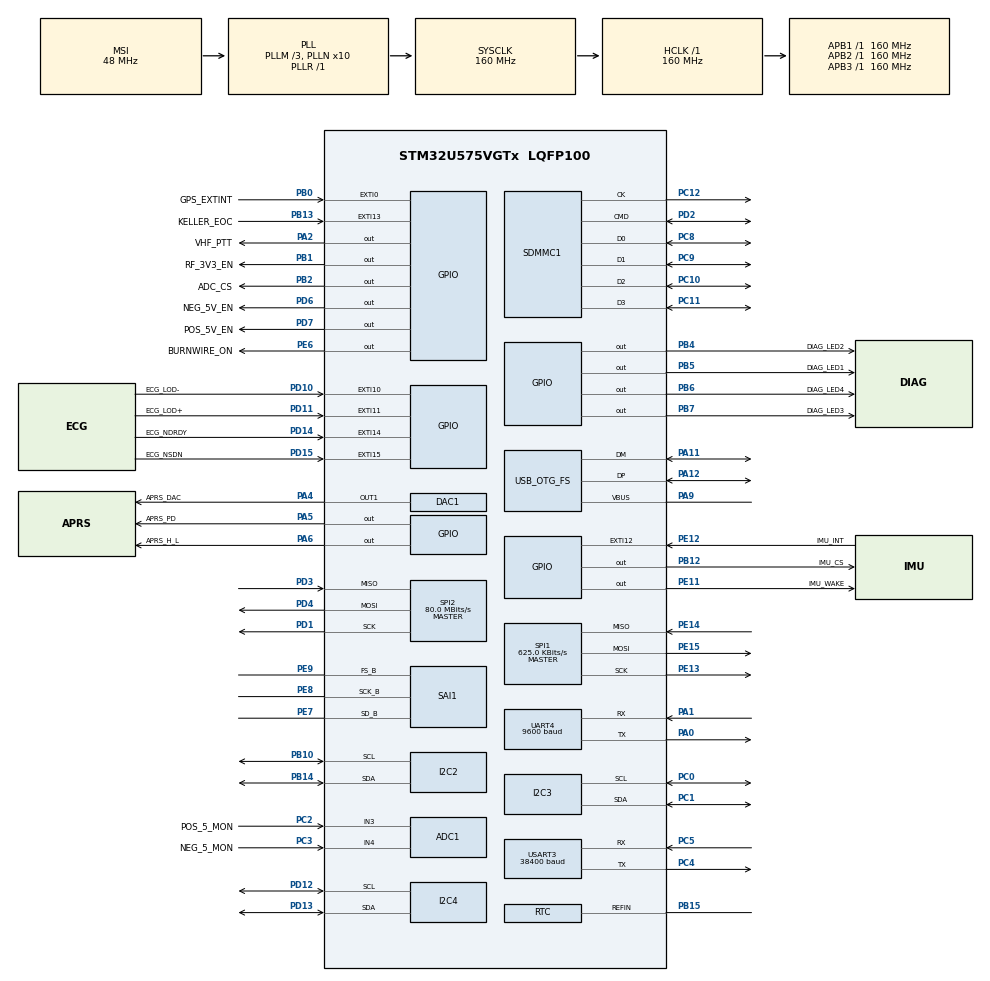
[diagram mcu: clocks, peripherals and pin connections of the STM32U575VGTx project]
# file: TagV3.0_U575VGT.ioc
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ADC1.Channel-0\#ChannelRegularConversion=ADC_CHANNEL_3
ADC1.Channel-1\#ChannelRegularConversion=ADC_CHANNEL_4
ADC1.EnableRegularConversion=ENABLE
ADC1.MonitoredBy-0\#ChannelRegularConversion=__NULL
ADC1.MonitoredBy-1\#ChannelRegularConversion=__NULL
ADC1.NbrOfConversion=2
ADC1.NbrOfConversionFlag=1
ADC1.OffsetNumber-0\#ChannelRegularConversion=ADC_OFFSET_NONE
ADC1.OffsetNumber-1\#ChannelRegularConversion=ADC_OFFSET_NONE
ADC1.Rank-0\#ChannelRegularConversion=1
ADC1.Rank-1\#ChannelRegularConversion=2
ADC1.SamplingTime-0\#ChannelRegularConversion=ADC_SAMPLETIME_5CYCLE
ADC1.SamplingTime-1\#ChannelRegularConversion=ADC_SAMPLETIME_5CYCLE
ADC1.master=1
CORTEX_M33_NS.userName=CORTEX_M33
DAC1.DAC_Channel-DAC_OUT1=DAC_CHANNEL_1
DAC1.DAC_OutputBuffer_OUT1-DAC_OUT1=DAC_OUTPUTBUFFER_ENABLE
DAC1.DAC_SampleAndHold-DAC_OUT1=DAC_SAMPLEANDHOLD_DISABLE
DAC1.DAC_SignedFormat-DAC_OUT1=DISABLE
DAC1.DAC_Trigger-DAC_OUT1=DAC_TRIGGER_T2_TRGO
DAC1.DAC_UserTrimming-DAC_OUT1=DAC_TRIMMING_FACTORY
FILEX.FILEX_APPLICATION_THREAD_PRIORITY=1
FILEX.FILEX_APPLICATION_THREAD_STACK_SIZE=2048
FILEX.FORMAT_SD_MEDIA=0
FILEX.FX_APP_MEM_POOL_SIZE=2500
FILEX.FX_DISABLE_ERROR_CHECKING=1
FILEX.FX_DONT_UPDATE_OPEN_FILES=1
FILEX.FX_DRIVER_SDMMC_INIT=0
FILEX.FX_ENABLE_EXFAT=1
FILEX.FX_EXFAT_MAX_CACHE_SIZE_NB_BIT=12
FILEX.FX_FAT_MAP_SIZE=256
FILEX.FX_FAULT_TOLERANT=1
FILEX.FX_FAULT_TOLERANT_CACHE_SIZE_NB_SIZE=14
FILEX.FX_FAULT_TOLERANT_DATA=1
FILEX.FX_SD_INTERFACE=1
FILEX.FX_UPDATE_RATE_IN_SECONDS=10
FILEX.useRTOS=1
GPDMA1.CIRCULARMODE_GPDMACH0=ENABLE
GPDMA1.CIRCULARMODE_GPDMACH1=ENABLE
GPDMA1.DESTBURSTLENGTH_GPDMACH0=1
GPDMA1.DESTDATAWIDTH_GPDMACH1=DMA_DEST_DATAWIDTH_WORD
GPDMA1.DESTINC_GPDMACH0=DMA_DINC_INCREMENTED
GPDMA1.DESTINC_GPDMACH1=DMA_DINC_FIXED
GPDMA1.DIRECTION_GPDMACH1=DMA_MEMORY_TO_PERIPH
GPDMA1.IPHANDLE_GPDMACH0-SIMPLEREQUEST_GPDMACH0=__NULL
GPDMA1.IPHANDLE_GPDMACH1-SIMPLEREQUEST_GPDMACH1=__NULL
GPDMA1.PRIORITY_LL_CIRCULAR_GPDMACH0=DMA_LOW_PRIORITY_LOW_WEIGHT
GPDMA1.PRIORITY_LL_CIRCULAR_GPDMACH1=DMA_LOW_PRIORITY_LOW_WEIGHT
GPDMA1.REQUEST_GPDMACH0=GPDMA1_REQUEST_SAI1_B
GPDMA1.REQUEST_GPDMACH1=GPDMA1_REQUEST_DAC1_CH1
GPDMA1.SRCBURSTLENGTH_GPDMACH0=1
GPDMA1.SRCDATAWIDTH_GPDMACH1=DMA_SRC_DATAWIDTH_WORD
GPDMA1.SRCINC_GPDMACH1=DMA_SINC_INCREMENTED
I2C2.Timing=0x30909DEC
I2C3.Timing=0x30909DEC
I2C4.Timing=0x30909DEC
Mcu.Family=STM32U5
Mcu.Name=STM32U575VGTx
Mcu.Package=LQFP100
NVIC.EXTI12_IRQn=true\:3\:0\:true\:false\:true\:false\:true\:true\:true
NVIC.EXTI14_IRQn=true\:2\:0\:true\:false\:true\:false\:true\:true\:true
NVIC.GPDMA1_Channel0_IRQn=true\:0\:0\:false\:false\:true\:false\:false\:true\:true
NVIC.GPDMA1_Channel1_IRQn=true\:0\:0\:false\:false\:true\:true\:false\:true\:true
NVIC.OTG_FS_IRQn=true\:0\:0\:false\:false\:true\:false\:true\:true\:true
NVIC.PriorityGroup=NVIC_PRIORITYGROUP_4
NVIC.SDMMC1_IRQn=true\:0\:0\:true\:false\:true\:false\:true\:true\:true
NVIC.TIM2_IRQn=true\:0\:0\:false\:false\:true\:false\:true\:true\:true
NVIC.TIM6_IRQn=true\:15\:0\:false\:false\:true\:false\:false\:true\:true
NVIC.TimeBase=TIM6_IRQn
NVIC.TimeBaseIP=TIM6
PA0.Mode=Asynchronous
PA0.Signal=UART4_TX
PA1.Mode=Asynchronous
PA1.Signal=UART4_RX
PA11.Mode=Device_Only
PA11.Signal=USB_OTG_FS_DM
PA12.Mode=Device_Only
PA12.Signal=USB_OTG_FS_DP
PA13\ (JTMS/SWDIO).Mode=Trace_Asynchronous_SW
PA13\ (JTMS/SWDIO).Signal=DEBUG_JTMS-SWDIO
PA14\ (JTCK/SWCLK).Mode=Trace_Asynchronous_SW
PA14\ (JTCK/SWCLK).Signal=DEBUG_JTCK-SWCLK
PA2.GPIO_Label=VHF_PTT
PA2.PinState=GPIO_PIN_RESET
PA2.Signal=GPIO_Output
PA4.GPIO_Label=APRS_DAC
PA4.Signal=COMP_DAC11_group
PA5.GPIO_Label=APRS_PD
PA5.PinState=GPIO_PIN_SET
PA5.Signal=GPIO_Output
PA6.GPIO_Label=APRS_H_L
PA6.Signal=GPIO_Output
PA9.Mode=Activate_VBUS
PA9.Signal=USB_OTG_FS_VBUS
PB0.GPIO_Label=GPS_EXTINT
PB0.Signal=GPXTI0
PB1.GPIO_Label=RF_3V3_EN
PB1.Signal=GPIO_Output
PB10.Mode=I2C
PB10.PinAttribute=Free
PB10.Signal=I2C2_SCL
PB12.GPIO_Label=IMU_CS
PB12.PinAttribute=Free
PB12.PinState=GPIO_PIN_SET
PB12.Signal=GPIO_Output
PB13.GPIO_Label=KELLER_EOC
PB13.PinAttribute=Free
PB13.Signal=GPXTI13
PB14.Mode=I2C
PB14.PinAttribute=Free
PB14.Signal=I2C2_SDA
PB15.Mode=Reference_Clock_Detection_Activate
PB15.PinAttribute=Free
PB15.Signal=RTC_REFIN
PB2.GPIO_Label=ADC_CS
PB2.PinState=GPIO_PIN_SET
PB2.Signal=GPIO_Output
PB3\ (JTDO/TRACESWO).Mode=Trace_Asynchronous_SW
PB3\ (JTDO/TRACESWO).Signal=DEBUG_JTDO-SWO
PB4\ (NJTRST).GPIO_Label=DIAG_LED2
PB4\ (NJTRST).PinState=GPIO_PIN_SET
PB4\ (NJTRST).Signal=GPIO_Output
PB5.GPIO_Label=DIAG_LED1
PB5.PinState=GPIO_PIN_SET
PB5.Signal=GPIO_Output
PB6.GPIO_Label=DIAG_LED4
PB6.PinState=GPIO_PIN_SET
PB6.Signal=GPIO_Output
PB7.GPIO_Label=DIAG_LED3
PB7.PinState=GPIO_PIN_SET
PB7.Signal=GPIO_Output
PC0.Mode=I2C
PC0.Signal=I2C3_SCL
PC1.Mode=I2C
PC1.PinAttribute=Free
PC1.Signal=I2C3_SDA
PC10.Mode=SD_4_bits_Wide_bus
PC10.PinAttribute=Free
PC10.Signal=SDMMC1_D2
PC11.Mode=SD_4_bits_Wide_bus
PC11.PinAttribute=Free
PC11.Signal=SDMMC1_D3
PC12.Mode=SD_4_bits_Wide_bus
PC12.PinAttribute=Free
PC12.Signal=SDMMC1_CK
PC14-OSC32_IN\ (PC14).Mode=LSE-External-Oscillator
PC14-OSC32_IN\ (PC14).Signal=RCC_OSC32_IN
PC15-OSC32_OUT\ (PC15).Mode=LSE-External-Oscillator
PC15-OSC32_OUT\ (PC15).Signal=RCC_OSC32_OUT
PC2.GPIO_Label=POS_5_MON
PC2.Signal=SharedAnalog_PC2
PC3.GPIO_Label=NEG_5_MON
PC3.Signal=SharedAnalog_PC3
PC4.Mode=Asynchronous
PC4.Signal=USART3_TX
PC5.Mode=Asynchronous
PC5.Signal=USART3_RX
PC8.Mode=SD_4_bits_Wide_bus
PC8.PinAttribute=Free
PC8.Signal=SDMMC1_D0
PC9.Mode=SD_4_bits_Wide_bus
PC9.PinAttribute=Free
PC9.Signal=SDMMC1_D1
PD1.Mode=Full_Duplex_Master
PD1.PinAttribute=Free
PD1.Signal=SPI2_SCK
PD10.GPIO_Label=ECG_LOD-
PD10.PinAttribute=Free
PD10.Signal=GPXTI10
PD11.GPIO_Label=ECG_LOD+
PD11.PinAttribute=Free
PD11.Signal=GPXTI11
PD12.Mode=I2C
PD12.PinAttribute=Free
PD12.Signal=I2C4_SCL
PD13.Mode=I2C
PD13.PinAttribute=Free
PD13.Signal=I2C4_SDA
PD14.GPIO_Label=ECG_NDRDY
PD14.PinAttribute=Free
PD14.Signal=GPXTI14
PD15.GPIO_Label=ECG_NSDN
PD15.PinAttribute=Free
PD15.Signal=GPXTI15
PD2.Mode=SD_4_bits_Wide_bus
PD2.PinAttribute=Free
PD2.Signal=SDMMC1_CMD
PD3.Mode=Full_Duplex_Master
PD3.PinAttribute=Free
PD3.Signal=SPI2_MISO
PD4.Mode=Full_Duplex_Master
PD4.PinAttribute=Free
PD4.Signal=SPI2_MOSI
PD6.GPIO_Label=NEG_5V_EN
PD6.Signal=GPIO_Output
PD7.GPIO_Label=POS_5V_EN
PD7.Signal=GPIO_Output
PE11.GPIO_Label=IMU_WAKE
PE11.GPIO_ModeDefaultOutputPP=GPIO_MODE_OUTPUT_OD
PE11.GPIO_PuPd=GPIO_NOPULL
PE11.PinState=GPIO_PIN_SET
PE11.Signal=GPIO_Output
PE12.GPIO_Label=IMU_INT
PE12.GPIO_ModeDefaultEXTI=GPIO_MODE_IT_FALLING
PE12.Signal=GPXTI12
PE13.Mode=Full_Duplex_Master
PE13.Signal=SPI1_SCK
PE14.Mode=Full_Duplex_Master
PE14.Signal=SPI1_MISO
PE15.Mode=Full_Duplex_Master
PE15.Signal=SPI1_MOSI
PE6.GPIO_Label=BURNWIRE_ON
PE6.Signal=GPIO_Output
PE7.Mode=SAI_B_AsyncSlave
PE7.Signal=SAI1_SD_B
PE8.Mode=SAI_B_AsyncSlave
PE8.Signal=SAI1_SCK_B
PE9.Mode=SAI_B_AsyncSlave
PE9.Signal=SAI1_FS_B
PH0-OSC_IN\ (PH0).Mode=HSE-External-Oscillator
PH0-OSC_IN\ (PH0).Signal=RCC_OSC_IN
PH1-OSC_OUT\ (PH1).Mode=HSE-External-Oscillator
PH1-OSC_OUT\ (PH1).Signal=RCC_OSC_OUT
ProjectManager.HeapSize=0x200
ProjectManager.StackSize=0x400
ProjectManager.TargetToolchain=STM32CubeIDE
RCC.ADCFreq_Value=16000000
RCC.AHBFreq_Value=160000000
RCC.APB1Freq_Value=160000000
RCC.APB1TimFreq_Value=160000000
RCC.APB2Freq_Value=160000000
RCC.APB2TimFreq_Value=160000000
RCC.APB3Freq_Value=160000000
RCC.CK48CLockSelection=RCC_CLK48CLKSOURCE_HSI48
RCC.CortexFreq_Value=160000000
RCC.EPOD_VALUE=48000000
RCC.HCLKFreq_Value=160000000
RCC.HSE_VALUE=16000000
RCC.HSI48_VALUE=48000000
RCC.HSI_VALUE=16000000
RCC.LSIDIV_VALUE=32000
RCC.MSIClockRange=RCC_MSIRANGE_0
RCC.MSI_VALUE=48000000
RCC.PLL1P=1
RCC.PLL1R=1
RCC.PLL2FRACN=0
RCC.PLL2M=3
RCC.PLL2N=8
RCC.PLL2P=1
RCC.PLL3FRACN=0
RCC.PLLFRACN=0
RCC.PLLM=3
RCC.PLLN=10
RCC.SDMMCClockSelection=RCC_SDMMCCLKSOURCE_CLK48
RCC.SYSCLKFreq_VALUE=160000000
RCC.SYSCLKSource=RCC_SYSCLKSOURCE_PLLCLK
RCC.USBFreq_Value=48000000
RCC.VCOOutputFreq_Value=160000000
SAI1.ActiveFrameLength-SAI_B_AsyncSlave=1
SAI1.FSDefinition-SAI_B_AsyncSlave=SAI_FS_STARTFRAME
SAI1.FSOffset-SAI_B_AsyncSlave=SAI_FS_FIRSTBIT
SAI1.FSPolarity-SAI_B_AsyncSlave=SAI_FS_ACTIVE_LOW
SAI1.FrameLength-SAI_B_AsyncSlave=128
SAI1.Instance-SAI_B_AsyncSlave=SAI$Index_Block_B
SAI1.OutputDrive-SAI_B_AsyncSlave=SAI_OUTPUTDRIVE_DISABLE
SAI1.SlotActive-SAI_B_AsyncSlave=0x00000EEE
SAI1.SlotNumber-SAI_B_AsyncSlave=16
SAI1.VirtualMode-SAI_B_AsyncSlave=VM_SLAVE
SAI1.VirtualSlotActive-SAI_B_AsyncSlave=SAI_SLOT_USERSETTING
SAI1.VirtualSlotActive0-SAI_B_AsyncSlave=false
SAI1.VirtualSlotActive1-SAI_B_AsyncSlave=true
SAI1.VirtualSlotActive10-SAI_B_AsyncSlave=true
SAI1.VirtualSlotActive11-SAI_B_AsyncSlave=true
SAI1.VirtualSlotActive12-SAI_B_AsyncSlave=false
SAI1.VirtualSlotActive13-SAI_B_AsyncSlave=false
SAI1.VirtualSlotActive14-SAI_B_AsyncSlave=false
SAI1.VirtualSlotActive15-SAI_B_AsyncSlave=false
SAI1.VirtualSlotActive2-SAI_B_AsyncSlave=true
SAI1.VirtualSlotActive3-SAI_B_AsyncSlave=true
SAI1.VirtualSlotActive4-SAI_B_AsyncSlave=false
SAI1.VirtualSlotActive5-SAI_B_AsyncSlave=true
SAI1.VirtualSlotActive6-SAI_B_AsyncSlave=true
SAI1.VirtualSlotActive7-SAI_B_AsyncSlave=true
SAI1.VirtualSlotActive8-SAI_B_AsyncSlave=false
SAI1.VirtualSlotActive9-SAI_B_AsyncSlave=true
SDMMC1.ClockDiv=2
SDMMC1.ClockPowerSave=SDMMC_CLOCK_POWER_SAVE_DISABLE
SH.COMP_DAC11_group.0=DAC1_OUT1,DAC_OUT1
SH.SharedAnalog_PC2.0=GPIO_Analog
SH.SharedAnalog_PC2.1=ADC1_IN3,IN3-Single-Ended
SH.SharedAnalog_PC3.0=GPIO_Analog
SH.SharedAnalog_PC3.1=ADC1_IN4,IN4-Single-Ended
SPI1.BaudRatePrescaler=SPI_BAUDRATEPRESCALER_256
SPI1.CalculateBaudRate=625.0 KBits/s
SPI1.DataSize=SPI_DATASIZE_8BIT
SPI1.Direction=SPI_DIRECTION_2LINES
SPI1.MasterInterDataIdleness=SPI_MASTER_INTERDATA_IDLENESS_08CYCLE
SPI1.Mode=SPI_MODE_MASTER
SPI1.NSSPMode=SPI_NSS_PULSE_DISABLE
SPI1.VirtualType=VM_MASTER
SPI2.CalculateBaudRate=80.0 MBits/s
SPI2.Direction=SPI_DIRECTION_2LINES
SPI2.Mode=SPI_MODE_MASTER
SPI2.VirtualType=VM_MASTER
THREADX.AZRTOS_APP_MEM_ALLOCATION_METHOD=1
THREADX.TX_APP_MEM_POOL_SIZE=20*1024
THREADX.TX_MINIMUM_STACK=200
THREADX.TX_TIMER_TICKS_PER_SECOND=20000
TIM2.PeriodNoDither=45
TIM2.Prescaler=16-1
TIM2.TIM_MasterOutputTrigger=TIM_TRGO_UPDATE
UART4.BaudRate=9600
UART4.ClockPrescaler=PRESCALER_DIV1
UART4.OverrunDisableParam=UART_ADVFEATURE_OVERRUN_DISABLE
USART3.BaudRate=38400
USART3.FIFOMode=FIFOMODE_ENABLE
USART3.VirtualMode-Asynchronous=VM_ASYNC
USBX.Core_System=1
USBX.USBD_COMPOSITE_USE_IAD=0
USBX.USBX_DEVICE_SYS_SIZE=8*1024
USBX.UX_DEVICE_APP_MEM_POOL_SIZE=10000
USBX.UX_DEVICE_STORAGE=1
USBX.UX_Device_CoreStack=1
USBX.UX_SLAVE_CLASS_STORAGE_INCLUDE_MMC=1
USBX.UX_SLAVE_REQUEST_DATA_MAX_LENGTH=512
USB_OTG_FS.VirtualMode=Device_Only
USB_OTG_FS.battery_charging_enable=DISABLE
VP_FILEX_VS_FileOoSystemJjFileXJjCore.Mode=FileX_Core
VP_FILEX_VS_SDOointerface.Mode=SD_interface
VP_GPDMA1_VS_GPDMACH0.Mode=SIMPLEREQUEST_GPDMACH0
VP_GPDMA1_VS_GPDMACH1.Mode=SIMPLEREQUEST_GPDMACH1
VP_LPBAMQUEUE_VS_QUEUE.Mode=QUEUEMODE
VP_LPBAM_VS_SIG1.Mode=SmartRun
VP_LPBAM_VS_SIG4.Mode=LPDMA1
VP_PWR_VS_LPOM.Mode=PowerOptimisation
VP_PWR_VS_SECSignals.Mode=Security/Privilege
VP_PWR_Vdda.Mode=isolationVdda
VP_RTC_VS_RTC_Activate.Mode=RTC_Enabled
VP_SYS_VS_tim6.Mode=TIM6
VP_THREADX_VS_RTOSJjThreadXJjCoreJjDefault.Mode=Core_Default
VP_TIM2_VS_ClockSourceINT.Mode=Internal
VP_USBX_Core_System.Mode=Core_System
VP_USBX_UX\ Device\ CoreStack_FS.Mode=UX_Device_CoreStack_FS
VP_USBX_UX\ Device\ MSC_FS.Mode=UX_Device_class_MSC_FS
VREF+.Mode=InternalMode
VREF+.Signal=VREFBUF_OUT
VREFBUF.VoltageScaling=SYSCFG_VREFBUF_VOLTAGE_SCALE3
board=custom

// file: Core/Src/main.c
/* USER CODE BEGIN Header */
/**
  ******************************************************************************
  * @file           : main.c
  * @brief          : Main program body
  ******************************************************************************
  * @attention
  *
  * Copyright (c) 2023 STMicroelectronics.
  * All rights reserved.
  *
  * This software is licensed under terms that can be found in the LICENSE file
  * in the root directory of this software component.
  * If no LICENSE file comes with this software, it is provided AS-IS.
  *
  ******************************************************************************
  */
/* USER CODE END Header */
#include "app_threadx.h"
#include "main.h"

/* USER CODE BEGIN Includes */
#include "config.h"
#include "KellerDepth.h"
#include "LightSensor.h"
#include "ad7768.h"
#include "audio.h"
#include "app_filex.h"

#ifdef UNIT_TEST
#include "UnitTests.h"
#endif

/* USER CODE END Includes */

ADC_HandleTypeDef hadc1;

DAC_HandleTypeDef hdac1;
DMA_NodeTypeDef Node_GPDMA1_Channel1;
DMA_QListTypeDef List_GPDMA1_Channel1;
DMA_HandleTypeDef handle_GPDMA1_Channel1;

I2C_HandleTypeDef hi2c2;
I2C_HandleTypeDef hi2c3;
I2C_HandleTypeDef hi2c4;

RTC_HandleTypeDef hrtc;

SAI_HandleTypeDef hsai_BlockB1;
DMA_NodeTypeDef Node_GPDMA1_Channel0;
DMA_QListTypeDef List_GPDMA1_Channel0;
DMA_HandleTypeDef handle_GPDMA1_Channel0;

SD_HandleTypeDef hsd1;

SPI_HandleTypeDef hspi1;
SPI_HandleTypeDef hspi2;

TIM_HandleTypeDef htim2;

UART_HandleTypeDef huart4;
UART_HandleTypeDef huart3;

PCD_HandleTypeDef hpcd_USB_OTG_FS;

/* USER CODE BEGIN PV */
#ifdef UNIT_TEST
Keller_HandleTypedef depth_sensor;
LightSensorHandleTypedef light_sensor;
#endif
AudioManager audio;
/* USER CODE END PV */

void SystemClock_Config(void);
static void MX_GPIO_Init(void);
static void MX_GPDMA1_Init(void);
static void MX_I2C4_Init(void);
static void MX_SDMMC1_SD_Init(void);
static void MX_SPI1_Init(void);
static void MX_UART4_Init(void);
static void MX_USB_OTG_FS_PCD_Init(void);
static void MX_RTC_Init(void);
static void MX_I2C2_Init(void);
static void MX_SAI1_Init(void);
static void MX_I2C3_Init(void);
static void MX_SPI2_Init(void);
static void MX_USART3_UART_Init(void);
static void MX_DAC1_Init(void);
static void MX_TIM2_Init(void);
static void MX_ADC1_Init(void);

int main(void)
{

  /* MCU Configuration--------------------------------------------------------*/

  /* Reset of all peripherals, Initializes the Flash interface and the Systick. */
  HAL_Init();

  /* Configure the system clock */
  SystemClock_Config();

  /* Initialize all configured peripherals */
  MX_GPIO_Init();
  MX_GPDMA1_Init();
  MX_I2C4_Init();
  MX_SDMMC1_SD_Init();
  MX_SPI1_Init();
  MX_UART4_Init();
  MX_USB_OTG_FS_PCD_Init();
  MX_RTC_Init();
  MX_I2C2_Init();
  MX_SAI1_Init();
  MX_I2C3_Init();
  MX_SPI2_Init();
  MX_USART3_UART_Init();
  MX_DAC1_Init();
  MX_TIM2_Init();
  MX_ADC1_Init();
  /* USER CODE BEGIN 2 */

#ifdef UNIT_TEST
  test_analog_power();

  //Keller_init(&depth_sensor, &hi2c2);
  //LightSensor_init(&light_sensor, &hi2c2);

  //HAL_Delay(15000);

  //SDcard_UT();
  //Keller_UT(&depth_sensor);
//  Light_UT(&light_sensor);

//  Keller_init(&depth_sensor, &hi2c2);
//  LightSensor_init(&light_sensor, &hi2c2);

  //AD7768_UT(&audio_adc);
//  SDcard_UT();
//  Keller_UT(&depth_sensor);
//  Light_UT(&light_sensor);
#endif //SYSTEM_BRING_UP

  HAL_NVIC_DisableIRQ(EXTI12_IRQn);
  HAL_NVIC_DisableIRQ(EXTI14_IRQn);
  /* USER CODE END 2 */

  MX_ThreadX_Init();

  /* We should never get here as control is now taken by the scheduler */
  /* Infinite loop */
  while (1)
  {

    /* USER CODE BEGIN 3 */
  }

  //fx_file_write(audio.file, audio.temp_buffer[1], AUDIO_CIRCULAR_BUFFER_SIZE);

  /* USER CODE END 3 */
}

void SystemClock_Config(void)
{
  RCC_OscInitTypeDef RCC_OscInitStruct = {0};
  RCC_ClkInitTypeDef RCC_ClkInitStruct = {0};

  /** Configure the main internal regulator output voltage
  */
  if (HAL_PWREx_ControlVoltageScaling(PWR_REGULATOR_VOLTAGE_SCALE1) != HAL_OK)
  {
    Error_Handler();
  }

  /** Initializes the CPU, AHB and APB buses clocks
  */
  RCC_OscInitStruct.OscillatorType = RCC_OSCILLATORTYPE_HSI48|RCC_OSCILLATORTYPE_HSI
                              |RCC_OSCILLATORTYPE_LSI|RCC_OSCILLATORTYPE_MSI;
  RCC_OscInitStruct.HSIState = RCC_HSI_ON;
  RCC_OscInitStruct.HSI48State = RCC_HSI48_ON;
  RCC_OscInitStruct.HSICalibrationValue = RCC_HSICALIBRATION_DEFAULT;
  RCC_OscInitStruct.LSIState = RCC_LSI_ON;
  RCC_OscInitStruct.MSIState = RCC_MSI_ON;
  RCC_OscInitStruct.MSICalibrationValue = RCC_MSICALIBRATION_DEFAULT;
  RCC_OscInitStruct.MSIClockRange = RCC_MSIRANGE_0;
  RCC_OscInitStruct.LSIDiv = RCC_LSI_DIV1;
  RCC_OscInitStruct.PLL.PLLState = RCC_PLL_ON;
  RCC_OscInitStruct.PLL.PLLSource = RCC_PLLSOURCE_MSI;
  RCC_OscInitStruct.PLL.PLLMBOOST = RCC_PLLMBOOST_DIV4;
  RCC_OscInitStruct.PLL.PLLM = 3;
  RCC_OscInitStruct.PLL.PLLN = 10;
  RCC_OscInitStruct.PLL.PLLP = 1;
  RCC_OscInitStruct.PLL.PLLQ = 2;
  RCC_OscInitStruct.PLL.PLLR = 1;
  RCC_OscInitStruct.PLL.PLLRGE = RCC_PLLVCIRANGE_1;
  RCC_OscInitStruct.PLL.PLLFRACN = 0;
  if (HAL_RCC_OscConfig(&RCC_OscInitStruct) != HAL_OK)
  {
    Error_Handler();
  }

  /** Initializes the CPU, AHB and APB buses clocks
  */
  RCC_ClkInitStruct.ClockType = RCC_CLOCKTYPE_HCLK|RCC_CLOCKTYPE_SYSCLK
                              |RCC_CLOCKTYPE_PCLK1|RCC_CLOCKTYPE_PCLK2
                              |RCC_CLOCKTYPE_PCLK3;
  RCC_ClkInitStruct.SYSCLKSource = RCC_SYSCLKSOURCE_PLLCLK;
  RCC_ClkInitStruct.AHBCLKDivider = RCC_SYSCLK_DIV1;
  RCC_ClkInitStruct.APB1CLKDivider = RCC_HCLK_DIV1;
  RCC_ClkInitStruct.APB2CLKDivider = RCC_HCLK_DIV1;
  RCC_ClkInitStruct.APB3CLKDivider = RCC_HCLK_DIV1;

  if (HAL_RCC_ClockConfig(&RCC_ClkInitStruct, FLASH_LATENCY_4) != HAL_OK)
  {
    Error_Handler();
  }
}

static void MX_ADC1_Init(void)
{

  ADC_ChannelConfTypeDef sConfig = {0};

  /** Common config
  */
  hadc1.Instance = ADC1;
  hadc1.Init.ClockPrescaler = ADC_CLOCK_ASYNC_DIV1;
  hadc1.Init.Resolution = ADC_RESOLUTION_14B;
  hadc1.Init.GainCompensation = 0;
  hadc1.Init.ScanConvMode = ADC_SCAN_ENABLE;
  hadc1.Init.EOCSelection = ADC_EOC_SINGLE_CONV;
  hadc1.Init.LowPowerAutoWait = DISABLE;
  hadc1.Init.ContinuousConvMode = DISABLE;
  hadc1.Init.NbrOfConversion = 2;
  hadc1.Init.DiscontinuousConvMode = DISABLE;
  hadc1.Init.ExternalTrigConv = ADC_SOFTWARE_START;
  hadc1.Init.ExternalTrigConvEdge = ADC_EXTERNALTRIGCONVEDGE_NONE;
  hadc1.Init.DMAContinuousRequests = DISABLE;
  hadc1.Init.TriggerFrequencyMode = ADC_TRIGGER_FREQ_HIGH;
  hadc1.Init.Overrun = ADC_OVR_DATA_PRESERVED;
  hadc1.Init.LeftBitShift = ADC_LEFTBITSHIFT_NONE;
  hadc1.Init.ConversionDataManagement = ADC_CONVERSIONDATA_DR;
  hadc1.Init.OversamplingMode = DISABLE;
  if (HAL_ADC_Init(&hadc1) != HAL_OK)
  {
    Error_Handler();
  }

  /** Configure Regular Channel
  */
  sConfig.Channel = ADC_CHANNEL_3;
  sConfig.Rank = ADC_REGULAR_RANK_1;
  sConfig.SamplingTime = ADC_SAMPLETIME_5CYCLE;
  sConfig.SingleDiff = ADC_SINGLE_ENDED;
  sConfig.OffsetNumber = ADC_OFFSET_NONE;
  sConfig.Offset = 0;
  if (HAL_ADC_ConfigChannel(&hadc1, &sConfig) != HAL_OK)
  {
    Error_Handler();
  }

  /** Configure Regular Channel
  */
  sConfig.Channel = ADC_CHANNEL_4;
  sConfig.Rank = ADC_REGULAR_RANK_2;
  if (HAL_ADC_ConfigChannel(&hadc1, &sConfig) != HAL_OK)
  {
    Error_Handler();
  }

}

static void MX_DAC1_Init(void)
{

  DAC_ChannelConfTypeDef sConfig = {0};
  DAC_AutonomousModeConfTypeDef sAutonomousMode = {0};

  /** DAC Initialization
  */
  hdac1.Instance = DAC1;
  if (HAL_DAC_Init(&hdac1) != HAL_OK)
  {
    Error_Handler();
  }

  /** DAC channel OUT1 config
  */
  sConfig.DAC_HighFrequency = DAC_HIGH_FREQUENCY_INTERFACE_MODE_DISABLE;
  sConfig.DAC_DMADoubleDataMode = DISABLE;
  sConfig.DAC_SignedFormat = DISABLE;
  sConfig.DAC_SampleAndHold = DAC_SAMPLEANDHOLD_DISABLE;
  sConfig.DAC_Trigger = DAC_TRIGGER_T2_TRGO;
  sConfig.DAC_OutputBuffer = DAC_OUTPUTBUFFER_ENABLE;
  sConfig.DAC_ConnectOnChipPeripheral = DAC_CHIPCONNECT_EXTERNAL;
  sConfig.DAC_UserTrimming = DAC_TRIMMING_FACTORY;
  if (HAL_DAC_ConfigChannel(&hdac1, &sConfig, DAC_CHANNEL_1) != HAL_OK)
  {
    Error_Handler();
  }

  /** Configure Autonomous Mode
  */
  sAutonomousMode.AutonomousModeState = DAC_AUTONOMOUS_MODE_DISABLE;
  if (HAL_DACEx_SetConfigAutonomousMode(&hdac1, &sAutonomousMode) != HAL_OK)
  {
    Error_Handler();
  }

}

static void MX_GPDMA1_Init(void)
{

  /* Peripheral clock enable */
  __HAL_RCC_GPDMA1_CLK_ENABLE();

  /* GPDMA1 interrupt Init */
    HAL_NVIC_SetPriority(GPDMA1_Channel0_IRQn, 0, 0);
    HAL_NVIC_EnableIRQ(GPDMA1_Channel0_IRQn);
    HAL_NVIC_SetPriority(GPDMA1_Channel1_IRQn, 0, 0);
    HAL_NVIC_EnableIRQ(GPDMA1_Channel1_IRQn);

}

static void MX_I2C2_Init(void)
{

  hi2c2.Instance = I2C2;
  hi2c2.Init.Timing = 0x30909DEC;
  hi2c2.Init.OwnAddress1 = 0;
  hi2c2.Init.AddressingMode = I2C_ADDRESSINGMODE_7BIT;
  hi2c2.Init.DualAddressMode = I2C_DUALADDRESS_DISABLE;
  hi2c2.Init.OwnAddress2 = 0;
  hi2c2.Init.OwnAddress2Masks = I2C_OA2_NOMASK;
  hi2c2.Init.GeneralCallMode = I2C_GENERALCALL_DISABLE;
  hi2c2.Init.NoStretchMode = I2C_NOSTRETCH_DISABLE;
  if (HAL_I2C_Init(&hi2c2) != HAL_OK)
  {
    Error_Handler();
  }

  /** Configure Analogue filter
  */
  if (HAL_I2CEx_ConfigAnalogFilter(&hi2c2, I2C_ANALOGFILTER_ENABLE) != HAL_OK)
  {
    Error_Handler();
  }

  /** Configure Digital filter
  */
  if (HAL_I2CEx_ConfigDigitalFilter(&hi2c2, 0) != HAL_OK)
  {
    Error_Handler();
  }

}

static void MX_I2C3_Init(void)
{

  hi2c3.Instance = I2C3;
  hi2c3.Init.Timing = 0x30909DEC;
  hi2c3.Init.OwnAddress1 = 0;
  hi2c3.Init.AddressingMode = I2C_ADDRESSINGMODE_7BIT;
  hi2c3.Init.DualAddressMode = I2C_DUALADDRESS_DISABLE;
  hi2c3.Init.OwnAddress2 = 0;
  hi2c3.Init.OwnAddress2Masks = I2C_OA2_NOMASK;
  hi2c3.Init.GeneralCallMode = I2C_GENERALCALL_DISABLE;
  hi2c3.Init.NoStretchMode = I2C_NOSTRETCH_DISABLE;
  if (HAL_I2C_Init(&hi2c3) != HAL_OK)
  {
    Error_Handler();
  }

  /** Configure Analogue filter
  */
  if (HAL_I2CEx_ConfigAnalogFilter(&hi2c3, I2C_ANALOGFILTER_ENABLE) != HAL_OK)
  {
    Error_Handler();
  }

  /** Configure Digital filter
  */
  if (HAL_I2CEx_ConfigDigitalFilter(&hi2c3, 0) != HAL_OK)
  {
    Error_Handler();
  }

}

static void MX_I2C4_Init(void)
{

  hi2c4.Instance = I2C4;
  hi2c4.Init.Timing = 0x30909DEC;
  hi2c4.Init.OwnAddress1 = 0;
  hi2c4.Init.AddressingMode = I2C_ADDRESSINGMODE_7BIT;
  hi2c4.Init.DualAddressMode = I2C_DUALADDRESS_DISABLE;
  hi2c4.Init.OwnAddress2 = 0;
  hi2c4.Init.OwnAddress2Masks = I2C_OA2_NOMASK;
  hi2c4.Init.GeneralCallMode = I2C_GENERALCALL_DISABLE;
  hi2c4.Init.NoStretchMode = I2C_NOSTRETCH_DISABLE;
  if (HAL_I2C_Init(&hi2c4) != HAL_OK)
  {
    Error_Handler();
  }

  /** Configure Analogue filter
  */
  if (HAL_I2CEx_ConfigAnalogFilter(&hi2c4, I2C_ANALOGFILTER_ENABLE) != HAL_OK)
  {
    Error_Handler();
  }

  /** Configure Digital filter
  */
  if (HAL_I2CEx_ConfigDigitalFilter(&hi2c4, 0) != HAL_OK)
  {
    Error_Handler();
  }

}

static void MX_RTC_Init(void)
{

  RTC_PrivilegeStateTypeDef privilegeState = {0};

  /** Initialize RTC Only
  */
  hrtc.Instance = RTC;
  hrtc.Init.HourFormat = RTC_HOURFORMAT_24;
  hrtc.Init.AsynchPrediv = 127;
  hrtc.Init.SynchPrediv = 255;
  hrtc.Init.OutPut = RTC_OUTPUT_DISABLE;
  hrtc.Init.OutPutRemap = RTC_OUTPUT_REMAP_NONE;
  hrtc.Init.OutPutPolarity = RTC_OUTPUT_POLARITY_HIGH;
  hrtc.Init.OutPutType = RTC_OUTPUT_TYPE_OPENDRAIN;
  hrtc.Init.OutPutPullUp = RTC_OUTPUT_PULLUP_NONE;
  hrtc.Init.BinMode = RTC_BINARY_NONE;
  if (HAL_RTC_Init(&hrtc) != HAL_OK)
  {
    Error_Handler();
  }
  privilegeState.rtcPrivilegeFull = RTC_PRIVILEGE_FULL_NO;
  privilegeState.backupRegisterPrivZone = RTC_PRIVILEGE_BKUP_ZONE_NONE;
  privilegeState.backupRegisterStartZone2 = RTC_BKP_DR0;
  privilegeState.backupRegisterStartZone3 = RTC_BKP_DR0;
  if (HAL_RTCEx_PrivilegeModeSet(&hrtc, &privilegeState) != HAL_OK)
  {
    Error_Handler();
  }

  /** Enable the reference Clock input
  */
  if (HAL_RTCEx_SetRefClock(&hrtc) != HAL_OK)
  {
    Error_Handler();
  }

}

static void MX_SAI1_Init(void)
{

  hsai_BlockB1.Instance = SAI1_Block_B;
  hsai_BlockB1.Init.Protocol = SAI_FREE_PROTOCOL;
  hsai_BlockB1.Init.AudioMode = SAI_MODESLAVE_RX;
  hsai_BlockB1.Init.DataSize = SAI_DATASIZE_8;
  hsai_BlockB1.Init.FirstBit = SAI_FIRSTBIT_MSB;
  hsai_BlockB1.Init.ClockStrobing = SAI_CLOCKSTROBING_FALLINGEDGE;
  hsai_BlockB1.Init.Synchro = SAI_ASYNCHRONOUS;
  hsai_BlockB1.Init.OutputDrive = SAI_OUTPUTDRIVE_DISABLE;
  hsai_BlockB1.Init.FIFOThreshold = SAI_FIFOTHRESHOLD_EMPTY;
  hsai_BlockB1.Init.SynchroExt = SAI_SYNCEXT_DISABLE;
  hsai_BlockB1.Init.MckOutput = SAI_MCK_OUTPUT_ENABLE;
  hsai_BlockB1.Init.MonoStereoMode = SAI_STEREOMODE;
  hsai_BlockB1.Init.CompandingMode = SAI_NOCOMPANDING;
  hsai_BlockB1.Init.TriState = SAI_OUTPUT_NOTRELEASED;
  hsai_BlockB1.Init.PdmInit.Activation = DISABLE;
  hsai_BlockB1.Init.PdmInit.MicPairsNbr = 1;
  hsai_BlockB1.Init.PdmInit.ClockEnable = SAI_PDM_CLOCK1_ENABLE;
  hsai_BlockB1.FrameInit.FrameLength = 128;
  hsai_BlockB1.FrameInit.ActiveFrameLength = 1;
  hsai_BlockB1.FrameInit.FSDefinition = SAI_FS_STARTFRAME;
  hsai_BlockB1.FrameInit.FSPolarity = SAI_FS_ACTIVE_LOW;
  hsai_BlockB1.FrameInit.FSOffset = SAI_FS_FIRSTBIT;
  hsai_BlockB1.SlotInit.FirstBitOffset = 0;
  hsai_BlockB1.SlotInit.SlotSize = SAI_SLOTSIZE_DATASIZE;
  hsai_BlockB1.SlotInit.SlotNumber = 16;
  hsai_BlockB1.SlotInit.SlotActive = 0x00000EEE;
  if (HAL_SAI_Init(&hsai_BlockB1) != HAL_OK)
  {
    Error_Handler();
  }

}

static void MX_SDMMC1_SD_Init(void)
{

  hsd1.Instance = SDMMC1;
  hsd1.Init.ClockEdge = SDMMC_CLOCK_EDGE_RISING;
  hsd1.Init.ClockPowerSave = SDMMC_CLOCK_POWER_SAVE_DISABLE;
  hsd1.Init.BusWide = SDMMC_BUS_WIDE_4B;
  hsd1.Init.HardwareFlowControl = SDMMC_HARDWARE_FLOW_CONTROL_DISABLE;
  hsd1.Init.ClockDiv = 2;
  if (HAL_SD_Init(&hsd1) != HAL_OK)
  {
    Error_Handler();
  }

}

static void MX_SPI1_Init(void)
{

  SPI_AutonomousModeConfTypeDef HAL_SPI_AutonomousMode_Cfg_Struct = {0};

  /* SPI1 parameter configuration*/
  hspi1.Instance = SPI1;
  hspi1.Init.Mode = SPI_MODE_MASTER;
  hspi1.Init.Direction = SPI_DIRECTION_2LINES;
  hspi1.Init.DataSize = SPI_DATASIZE_8BIT;
  hspi1.Init.CLKPolarity = SPI_POLARITY_LOW;
  hspi1.Init.CLKPhase = SPI_PHASE_1EDGE;
  hspi1.Init.NSS = SPI_NSS_SOFT;
  hspi1.Init.BaudRatePrescaler = SPI_BAUDRATEPRESCALER_256;
  hspi1.Init.FirstBit = SPI_FIRSTBIT_MSB;
  hspi1.Init.TIMode = SPI_TIMODE_DISABLE;
  hspi1.Init.CRCCalculation = SPI_CRCCALCULATION_DISABLE;
  hspi1.Init.CRCPolynomial = 0x7;
  hspi1.Init.NSSPMode = SPI_NSS_PULSE_DISABLE;
  hspi1.Init.NSSPolarity = SPI_NSS_POLARITY_LOW;
  hspi1.Init.FifoThreshold = SPI_FIFO_THRESHOLD_01DATA;
  hspi1.Init.MasterSSIdleness = SPI_MASTER_SS_IDLENESS_00CYCLE;
  hspi1.Init.MasterInterDataIdleness = SPI_MASTER_INTERDATA_IDLENESS_08CYCLE;
  hspi1.Init.MasterReceiverAutoSusp = SPI_MASTER_RX_AUTOSUSP_DISABLE;
  hspi1.Init.MasterKeepIOState = SPI_MASTER_KEEP_IO_STATE_DISABLE;
  hspi1.Init.IOSwap = SPI_IO_SWAP_DISABLE;
  hspi1.Init.ReadyMasterManagement = SPI_RDY_MASTER_MANAGEMENT_INTERNALLY;
  hspi1.Init.ReadyPolarity = SPI_RDY_POLARITY_HIGH;
  if (HAL_SPI_Init(&hspi1) != HAL_OK)
  {
    Error_Handler();
  }
  HAL_SPI_AutonomousMode_Cfg_Struct.TriggerState = SPI_AUTO_MODE_DISABLE;
  HAL_SPI_AutonomousMode_Cfg_Struct.TriggerSelection = SPI_GRP1_GPDMA_CH0_TCF_TRG;
  HAL_SPI_AutonomousMode_Cfg_Struct.TriggerPolarity = SPI_TRIG_POLARITY_RISING;
  if (HAL_SPIEx_SetConfigAutonomousMode(&hspi1, &HAL_SPI_AutonomousMode_Cfg_Struct) != HAL_OK)
  {
    Error_Handler();
  }

}

static void MX_SPI2_Init(void)
{

  SPI_AutonomousModeConfTypeDef HAL_SPI_AutonomousMode_Cfg_Struct = {0};

  /* SPI2 parameter configuration*/
  hspi2.Instance = SPI2;
  hspi2.Init.Mode = SPI_MODE_MASTER;
  hspi2.Init.Direction = SPI_DIRECTION_2LINES;
  hspi2.Init.DataSize = SPI_DATASIZE_4BIT;
  hspi2.Init.CLKPolarity = SPI_POLARITY_LOW;
  hspi2.Init.CLKPhase = SPI_PHASE_1EDGE;
  hspi2.Init.NSS = SPI_NSS_SOFT;
  hspi2.Init.BaudRatePrescaler = SPI_BAUDRATEPRESCALER_2;
  hspi2.Init.FirstBit = SPI_FIRSTBIT_MSB;
  hspi2.Init.TIMode = SPI_TIMODE_DISABLE;
  hspi2.Init.CRCCalculation = SPI_CRCCALCULATION_DISABLE;
  hspi2.Init.CRCPolynomial = 0x7;
  hspi2.Init.NSSPMode = SPI_NSS_PULSE_ENABLE;
  hspi2.Init.NSSPolarity = SPI_NSS_POLARITY_LOW;
  hspi2.Init.FifoThreshold = SPI_FIFO_THRESHOLD_01DATA;
  hspi2.Init.MasterSSIdleness = SPI_MASTER_SS_IDLENESS_00CYCLE;
  hspi2.Init.MasterInterDataIdleness = SPI_MASTER_INTERDATA_IDLENESS_00CYCLE;
  hspi2.Init.MasterReceiverAutoSusp = SPI_MASTER_RX_AUTOSUSP_DISABLE;
  hspi2.Init.MasterKeepIOState = SPI_MASTER_KEEP_IO_STATE_DISABLE;
  hspi2.Init.IOSwap = SPI_IO_SWAP_DISABLE;
  hspi2.Init.ReadyMasterManagement = SPI_RDY_MASTER_MANAGEMENT_INTERNALLY;
  hspi2.Init.ReadyPolarity = SPI_RDY_POLARITY_HIGH;
  if (HAL_SPI_Init(&hspi2) != HAL_OK)
  {
    Error_Handler();
  }
  HAL_SPI_AutonomousMode_Cfg_Struct.TriggerState = SPI_AUTO_MODE_DISABLE;
  HAL_SPI_AutonomousMode_Cfg_Struct.TriggerSelection = SPI_GRP1_GPDMA_CH0_TCF_TRG;
  HAL_SPI_AutonomousMode_Cfg_Struct.TriggerPolarity = SPI_TRIG_POLARITY_RISING;
  if (HAL_SPIEx_SetConfigAutonomousMode(&hspi2, &HAL_SPI_AutonomousMode_Cfg_Struct) != HAL_OK)
  {
    Error_Handler();
  }

}

static void MX_TIM2_Init(void)
{

  TIM_ClockConfigTypeDef sClockSourceConfig = {0};
  TIM_MasterConfigTypeDef sMasterConfig = {0};

  htim2.Instance = TIM2;
  htim2.Init.Prescaler = 16-1;
  htim2.Init.CounterMode = TIM_COUNTERMODE_UP;
  htim2.Init.Period = 45;
  htim2.Init.ClockDivision = TIM_CLOCKDIVISION_DIV1;
  htim2.Init.AutoReloadPreload = TIM_AUTORELOAD_PRELOAD_DISABLE;
  if (HAL_TIM_Base_Init(&htim2) != HAL_OK)
  {
    Error_Handler();
  }
  sClockSourceConfig.ClockSource = TIM_CLOCKSOURCE_INTERNAL;
  if (HAL_TIM_ConfigClockSource(&htim2, &sClockSourceConfig) != HAL_OK)
  {
    Error_Handler();
  }
  sMasterConfig.MasterOutputTrigger = TIM_TRGO_UPDATE;
  sMasterConfig.MasterSlaveMode = TIM_MASTERSLAVEMODE_DISABLE;
  if (HAL_TIMEx_MasterConfigSynchronization(&htim2, &sMasterConfig) != HAL_OK)
  {
    Error_Handler();
  }

}

static void MX_UART4_Init(void)
{

  huart4.Instance = UART4;
  huart4.Init.BaudRate = 9600;
  huart4.Init.WordLength = UART_WORDLENGTH_8B;
  huart4.Init.StopBits = UART_STOPBITS_1;
  huart4.Init.Parity = UART_PARITY_NONE;
  huart4.Init.Mode = UART_MODE_TX_RX;
  huart4.Init.HwFlowCtl = UART_HWCONTROL_NONE;
  huart4.Init.OverSampling = UART_OVERSAMPLING_16;
  huart4.Init.OneBitSampling = UART_ONE_BIT_SAMPLE_DISABLE;
  huart4.Init.ClockPrescaler = UART_PRESCALER_DIV1;
  huart4.AdvancedInit.AdvFeatureInit = UART_ADVFEATURE_RXOVERRUNDISABLE_INIT;
  huart4.AdvancedInit.OverrunDisable = UART_ADVFEATURE_OVERRUN_DISABLE;
  if (HAL_UART_Init(&huart4) != HAL_OK)
  {
    Error_Handler();
  }
  if (HAL_UARTEx_SetTxFifoThreshold(&huart4, UART_TXFIFO_THRESHOLD_1_8) != HAL_OK)
  {
    Error_Handler();
  }
  if (HAL_UARTEx_SetRxFifoThreshold(&huart4, UART_RXFIFO_THRESHOLD_1_8) != HAL_OK)
  {
    Error_Handler();
  }
  if (HAL_UARTEx_DisableFifoMode(&huart4) != HAL_OK)
  {
    Error_Handler();
  }

}

static void MX_USART3_UART_Init(void)
{

  huart3.Instance = USART3;
  huart3.Init.BaudRate = 38400;
  huart3.Init.WordLength = UART_WORDLENGTH_8B;
  huart3.Init.StopBits = UART_STOPBITS_1;
  huart3.Init.Parity = UART_PARITY_NONE;
  huart3.Init.Mode = UART_MODE_TX_RX;
  huart3.Init.HwFlowCtl = UART_HWCONTROL_NONE;
  huart3.Init.OverSampling = UART_OVERSAMPLING_16;
  huart3.Init.OneBitSampling = UART_ONE_BIT_SAMPLE_DISABLE;
  huart3.Init.ClockPrescaler = UART_PRESCALER_DIV1;
  huart3.AdvancedInit.AdvFeatureInit = UART_ADVFEATURE_NO_INIT;
  if (HAL_UART_Init(&huart3) != HAL_OK)
  {
    Error_Handler();
  }
  if (HAL_UARTEx_SetTxFifoThreshold(&huart3, UART_TXFIFO_THRESHOLD_1_8) != HAL_OK)
  {
    Error_Handler();
  }
  if (HAL_UARTEx_SetRxFifoThreshold(&huart3, UART_RXFIFO_THRESHOLD_1_8) != HAL_OK)
  {
    Error_Handler();
  }
  if (HAL_UARTEx_EnableFifoMode(&huart3) != HAL_OK)
  {
    Error_Handler();
  }

}

static void MX_USB_OTG_FS_PCD_Init(void)
{

  hpcd_USB_OTG_FS.Instance = USB_OTG_FS;
  hpcd_USB_OTG_FS.Init.dev_endpoints = 6;
  hpcd_USB_OTG_FS.Init.speed = PCD_SPEED_FULL;
  hpcd_USB_OTG_FS.Init.phy_itface = PCD_PHY_EMBEDDED;
  hpcd_USB_OTG_FS.Init.Sof_enable = DISABLE;
  hpcd_USB_OTG_FS.Init.low_power_enable = DISABLE;
  hpcd_USB_OTG_FS.Init.lpm_enable = DISABLE;
  hpcd_USB_OTG_FS.Init.battery_charging_enable = DISABLE;
  hpcd_USB_OTG_FS.Init.use_dedicated_ep1 = DISABLE;
  hpcd_USB_OTG_FS.Init.vbus_sensing_enable = ENABLE;
  hpcd_USB_OTG_FS.Init.dma_enable = DISABLE;
  if (HAL_PCD_Init(&hpcd_USB_OTG_FS) != HAL_OK)
  {
    Error_Handler();
  }

}

static void MX_GPIO_Init(void)
{
  GPIO_InitTypeDef GPIO_InitStruct = {0};

  /* GPIO Ports Clock Enable */
  __HAL_RCC_GPIOE_CLK_ENABLE();
  __HAL_RCC_GPIOC_CLK_ENABLE();
  __HAL_RCC_GPIOH_CLK_ENABLE();
  __HAL_RCC_GPIOA_CLK_ENABLE();
  __HAL_RCC_GPIOB_CLK_ENABLE();
  __HAL_RCC_GPIOD_CLK_ENABLE();

  /*Configure GPIO pin Output Level */
  HAL_GPIO_WritePin(BURNWIRE_ON_GPIO_Port, BURNWIRE_ON_Pin, GPIO_PIN_RESET);

  /*Configure GPIO pin Output Level */
  HAL_GPIO_WritePin(GPIOA, VHF_PTT_Pin|APRS_H_L_Pin, GPIO_PIN_RESET);

  /*Configure GPIO pin Output Level */
  HAL_GPIO_WritePin(APRS_PD_GPIO_Port, APRS_PD_Pin, GPIO_PIN_SET);

  /*Configure GPIO pin Output Level */
  HAL_GPIO_WritePin(RF_3V3_EN_GPIO_Port, RF_3V3_EN_Pin, GPIO_PIN_RESET);

  /*Configure GPIO pin Output Level */
  HAL_GPIO_WritePin(GPIOB, ADC_CS_Pin|IMU_CS_Pin|DIAG_LED2_Pin|DIAG_LED1_Pin
                          |DIAG_LED4_Pin|DIAG_LED3_Pin, GPIO_PIN_SET);

  /*Configure GPIO pin Output Level */
  HAL_GPIO_WritePin(IMU_WAKE_GPIO_Port, IMU_WAKE_Pin, GPIO_PIN_SET);

  /*Configure GPIO pin Output Level */
  HAL_GPIO_WritePin(GPIOD, NEG_5V_EN_Pin|POS_5V_EN_Pin, GPIO_PIN_RESET);

  /*Configure GPIO pin : BURNWIRE_ON_Pin */
  GPIO_InitStruct.Pin = BURNWIRE_ON_Pin;
  GPIO_InitStruct.Mode = GPIO_MODE_OUTPUT_PP;
  GPIO_InitStruct.Pull = GPIO_NOPULL;
  GPIO_InitStruct.Speed = GPIO_SPEED_FREQ_LOW;
  HAL_GPIO_Init(BURNWIRE_ON_GPIO_Port, &GPIO_InitStruct);

  /*Configure GPIO pins : VHF_PTT_Pin APRS_PD_Pin APRS_H_L_Pin */
  GPIO_InitStruct.Pin = VHF_PTT_Pin|APRS_PD_Pin|APRS_H_L_Pin;
  GPIO_InitStruct.Mode = GPIO_MODE_OUTPUT_PP;
  GPIO_InitStruct.Pull = GPIO_NOPULL;
  GPIO_InitStruct.Speed = GPIO_SPEED_FREQ_LOW;
  HAL_GPIO_Init(GPIOA, &GPIO_InitStruct);

  /*Configure GPIO pins : GPS_EXTINT_Pin KELLER_EOC_Pin */
  GPIO_InitStruct.Pin = GPS_EXTINT_Pin|KELLER_EOC_Pin;
  GPIO_InitStruct.Mode = GPIO_MODE_IT_RISING;
  GPIO_InitStruct.Pull = GPIO_NOPULL;
  HAL_GPIO_Init(GPIOB, &GPIO_InitStruct);

  /*Configure GPIO pins : RF_3V3_EN_Pin ADC_CS_Pin IMU_CS_Pin DIAG_LED2_Pin
                           DIAG_LED1_Pin DIAG_LED4_Pin DIAG_LED3_Pin */
  GPIO_InitStruct.Pin = RF_3V3_EN_Pin|ADC_CS_Pin|IMU_CS_Pin|DIAG_LED2_Pin
                          |DIAG_LED1_Pin|DIAG_LED4_Pin|DIAG_LED3_Pin;
  GPIO_InitStruct.Mode = GPIO_MODE_OUTPUT_PP;
  GPIO_InitStruct.Pull = GPIO_NOPULL;
  GPIO_InitStruct.Speed = GPIO_SPEED_FREQ_LOW;
  HAL_GPIO_Init(GPIOB, &GPIO_InitStruct);

  /*Configure GPIO pin : IMU_WAKE_Pin */
  GPIO_InitStruct.Pin = IMU_WAKE_Pin;
  GPIO_InitStruct.Mode = GPIO_MODE_OUTPUT_OD;
  GPIO_InitStruct.Pull = GPIO_NOPULL;
  GPIO_InitStruct.Speed = GPIO_SPEED_FREQ_LOW;
  HAL_GPIO_Init(IMU_WAKE_GPIO_Port, &GPIO_InitStruct);

  /*Configure GPIO pin : IMU_INT_Pin */
  GPIO_InitStruct.Pin = IMU_INT_Pin;
  GPIO_InitStruct.Mode = GPIO_MODE_IT_FALLING;
  GPIO_InitStruct.Pull = GPIO_NOPULL;
  HAL_GPIO_Init(IMU_INT_GPIO_Port, &GPIO_InitStruct);

  /*Configure GPIO pins : ECG_LOD__Pin ECG_LOD_D11_Pin ECG_NDRDY_Pin ECG_NSDN_Pin */
  GPIO_InitStruct.Pin = ECG_LOD__Pin|ECG_LOD_D11_Pin|ECG_NDRDY_Pin|ECG_NSDN_Pin;
  GPIO_InitStruct.Mode = GPIO_MODE_IT_RISING;
  GPIO_InitStruct.Pull = GPIO_NOPULL;
  HAL_GPIO_Init(GPIOD, &GPIO_InitStruct);

  /*Configure GPIO pins : NEG_5V_EN_Pin POS_5V_EN_Pin */
  GPIO_InitStruct.Pin = NEG_5V_EN_Pin|POS_5V_EN_Pin;
  GPIO_InitStruct.Mode = GPIO_MODE_OUTPUT_PP;
  GPIO_InitStruct.Pull = GPIO_NOPULL;
  GPIO_InitStruct.Speed = GPIO_SPEED_FREQ_LOW;
  HAL_GPIO_Init(GPIOD, &GPIO_InitStruct);

  /* EXTI interrupt init*/
  HAL_NVIC_SetPriority(EXTI12_IRQn, 3, 0);
  HAL_NVIC_EnableIRQ(EXTI12_IRQn);

  HAL_NVIC_SetPriority(EXTI14_IRQn, 2, 0);
  HAL_NVIC_EnableIRQ(EXTI14_IRQn);

}

/* USER CODE BEGIN 4 */
//Fake timer 2 init function so we can change the period value during runtime
void MX_TIM2_Fake_Init(uint8_t newPeriod){

  TIM_ClockConfigTypeDef sClockSourceConfig = {0};
  TIM_MasterConfigTypeDef sMasterConfig = {0};

  /* USER CODE BEGIN TIM2_Init 1 */

  /* USER CODE END TIM2_Init 1 */
  htim2.Instance = TIM2;
  htim2.Init.Prescaler = 16 - 1;
  htim2.Init.CounterMode = TIM_COUNTERMODE_UP;
  htim2.Init.Period = newPeriod - 1;
  htim2.Init.ClockDivision = TIM_CLOCKDIVISION_DIV1;
  htim2.Init.AutoReloadPreload = TIM_AUTORELOAD_PRELOAD_DISABLE;
  if (HAL_TIM_Base_Init(&htim2) != HAL_OK)
  {
	Error_Handler();
  }
  sClockSourceConfig.ClockSource = TIM_CLOCKSOURCE_INTERNAL;
  if (HAL_TIM_ConfigClockSource(&htim2, &sClockSourceConfig) != HAL_OK)
  {
	Error_Handler();
  }
  sMasterConfig.MasterOutputTrigger = TIM_TRGO_UPDATE;
  sMasterConfig.MasterSlaveMode = TIM_MASTERSLAVEMODE_DISABLE;
  if (HAL_TIMEx_MasterConfigSynchronization(&htim2, &sMasterConfig) != HAL_OK)
  {
	Error_Handler();
  }
}

//Fake SD card initialization function so we can change the clock divison during runtime
void MX_SDMMC1_SD_Fake_Init(uint8_t newClockDiv)
{

  /* USER CODE BEGIN SDMMC1_Init 0 */

  /* USER CODE END SDMMC1_Init 0 */

  /* USER CODE BEGIN SDMMC1_Init 1 */

  /* USER CODE END SDMMC1_Init 1 */
  hsd1.Instance = SDMMC1;
  hsd1.Init.ClockEdge = SDMMC_CLOCK_EDGE_RISING;
  hsd1.Init.ClockPowerSave = SDMMC_CLOCK_POWER_SAVE_DISABLE;
  hsd1.Init.BusWide = SDMMC_BUS_WIDE_4B;
  hsd1.Init.HardwareFlowControl = SDMMC_HARDWARE_FLOW_CONTROL_DISABLE;
  hsd1.Init.ClockDiv = newClockDiv;
  if (HAL_SD_Init(&hsd1) != HAL_OK)
  {
    Error_Handler();
  }
  /* USER CODE BEGIN SDMMC1_Init 2 */

  /* USER CODE END SDMMC1_Init 2 */

}
/* USER CODE END 4 */

void HAL_TIM_PeriodElapsedCallback(TIM_HandleTypeDef *htim)
{
  if (htim->Instance == TIM6) {
    HAL_IncTick();
  }
}

void Error_Handler(void)
{
  __disable_irq();
  while (1)
  {
  }
}
